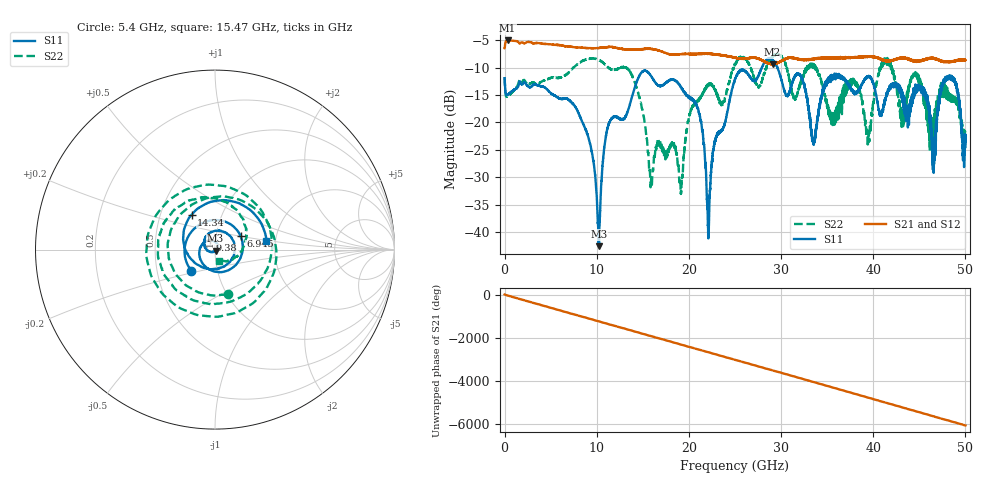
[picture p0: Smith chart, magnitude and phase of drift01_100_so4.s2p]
!Created with skrf (http://scikit-rf.org).
# Hz S RI R 50.0
!freq ReS11 ImS11 ReS21 ImS21 ReS12 ImS12 ReS22 ImS22
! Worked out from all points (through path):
!   10001 points, 300 kHz to 50 GHz, reference 50 ohm
!   highest |S21| = -5.05 dB at 325.3 MHz (marker M1); lowest = -9.4 dB at 29.08 GHz (marker M2)
!   group delay of S21, straight-line fit = 336 ps
!   lowest |S11| = -42.6 dB at 10.24 GHz (marker M3), VSWR 1.01, Z = 50.3 - j0.675 ohm
!   |S11| at or under -10 dB: start of sweep to 27.9 GHz; 27.90883 GHz to 27.91029 GHz (1.459 MHz wide, 0.00523 % of centre); 29.6 GHz to end of sweep
!   |S22| runs from -33.1 to -7.5 dB; largest |S21 - S12| = 0.014
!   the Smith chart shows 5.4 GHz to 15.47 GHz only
!   S11 on the Smith chart (normalised r, x): 5.4 GHz: 0.75, -0.18; 6.945 GHz: 1.31, +0.20; 9.38 GHz: 0.94, +0.10; 14.34 GHz: 0.72, +0.30; 15.47 GHz: 1.79, +0.19
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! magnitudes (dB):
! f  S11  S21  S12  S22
! 300 kHz  -11.9  -6.5  -6.6  -11.7
! 325.3 MHz  -15.0  -5.1  -5.1  -15.3
! 5.4 GHz  -15.1  -5.8  -5.8  -11.8
! 6.945 GHz  -15.9  -6.1  -6.1  -10.9
! 8.335 GHz  -19.5  -6.4  -6.4  -8.9
! 9.38 GHz  -24.7  -6.5  -6.5  -8.4
! 10.24 GHz  -42.6  -6.4  -6.4  -8.6
! 11.23 GHz  -20.7  -6.3  -6.2  -9.9
! 14.34 GHz  -12.6  -6.7  -6.7  -13.8
! 15.47 GHz  -10.7  -6.6  -6.6  -23.6
! 16.67 GHz  -13.3  -6.9  -6.9  -23.4
! 19.14 GHz  -13.6  -7.6  -7.6  -32.9
! 20.85 GHz  -16.9  -7.6  -7.5  -16.2
! 22.13 GHz  -40.6  -7.5  -7.5  -13.3
! 25 GHz  -12.1  -8.2  -8.2  -9.4
! 29.08 GHz  -8.6  -9.4  -9.4  -8.0
! 33.34 GHz  -22.5  -8.5  -8.5  -9.6
! 39.47 GHz  -11.7  -8.0  -8.0  -22.4
! 41.67 GHz  -13.9  -8.8  -8.7  -8.8
! 46.55 GHz  -25.6  -8.3  -8.3  -19.8
! 48.56 GHz  -11.9  -8.9  -8.9  -15.5
! 50 GHz  -23.1  -8.7  -8.6  -22.7
